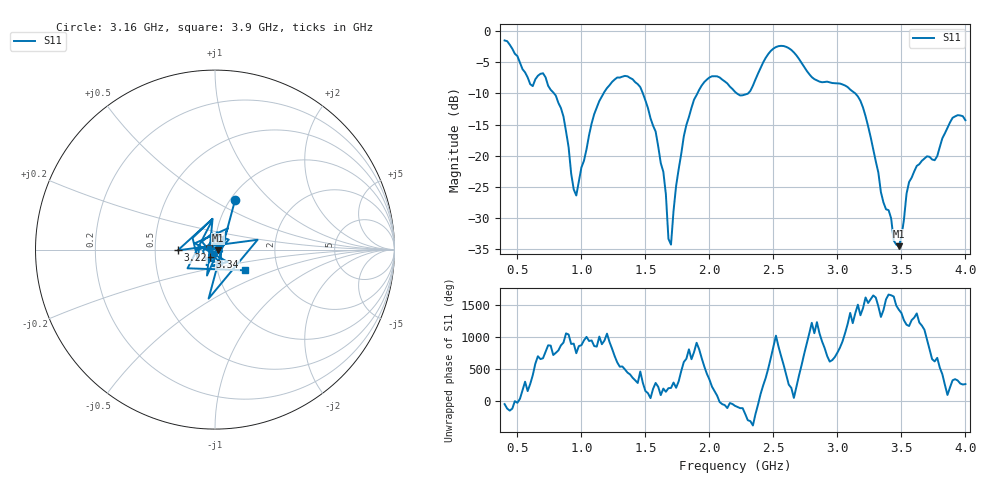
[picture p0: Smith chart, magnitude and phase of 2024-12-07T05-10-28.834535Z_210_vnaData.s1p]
!Created with skrf (http://scikit-rf.org).
# Hz S RI R 50.0
!freq ReS11 ImS11
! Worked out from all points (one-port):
!   181 points, 400 MHz to 4 GHz, reference 50 ohm
!   lowest |S11| = -34.5 dB at 3.48 GHz (marker M1), VSWR 1.04, Z = 51.9 - j0.351 ohm
!   |S11| at or under -10 dB: 785.6 MHz to 1.173 GHz (387.7 MHz wide, 39.6 % of centre); 1.48 GHz to 1.907 GHz (426.5 MHz wide, 25.2 % of centre); 3.139 GHz to end of sweep (the widest 3 of 4)
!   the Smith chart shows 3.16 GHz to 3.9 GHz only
!   S11 on the Smith chart (normalised r, x): 3.16 GHz: 1.05, +0.64; 3.22 GHz: 0.66, -0.01; 3.34 GHz: 0.94, -0.08; 3.9 GHz: 1.35, -0.32
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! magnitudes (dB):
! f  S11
! 400 MHz  -1.5
! 600 MHz  -8.5
! 700 MHz  -6.8
! 860 MHz  -13.7
! 960 MHz  -26.4
! 1.1 GHz  -13.3
! 1.3 GHz  -7.5
! 1.46 GHz  -9.0
! 1.58 GHz  -16.1
! 1.64 GHz  -22.6
! 1.68 GHz  -33.3
! 1.7 GHz  -34.3
! 1.76 GHz  -22.1
! 1.82 GHz  -15.1
! 1.94 GHz  -8.7
! 2.2 GHz  -9.8
! 2.32 GHz  -9.6
! 2.5 GHz  -2.8
! 2.66 GHz  -3.4
! 3.1 GHz  -9.4
! 3.16 GHz  -10.5
! 3.22 GHz  -13.7
! 3.34 GHz  -25.9
! 3.48 GHz  -34.5
! 3.56 GHz  -24.2
! 3.76 GHz  -20.7
! 3.9 GHz  -13.9
! 4 GHz  -14.3
